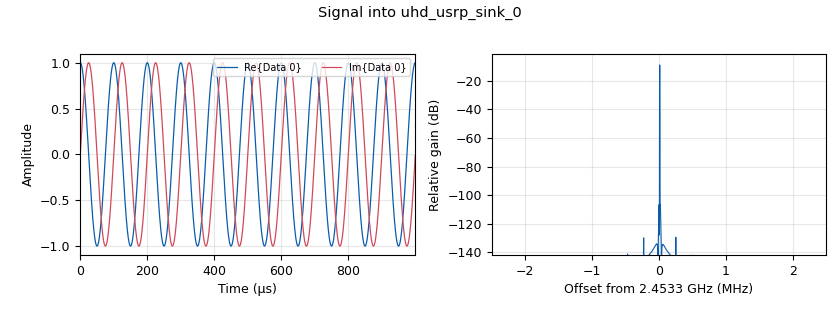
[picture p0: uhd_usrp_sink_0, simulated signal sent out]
options:
  parameters:
    author: Edson P. da Silva
    generate_options: qt_gui
    id: testUSRP
    output_language: python
    title: Intesymbol Interference
  states: {}

blocks:
- name: fc
  id: variable_qtgui_range
  parameters:
    outputmsgname: value
    showports: 'False'
    start: 2e9
    step: '1000'
    stop: 3e9
    value: '2453301000'
  states: {}
- name: samp_rate
  id: variable
  parameters:
    value: 5e6
  states: {}
- name: analog_sig_source_x_0
  id: analog_sig_source_x
  parameters:
    amp: '1'
    freq: '10000'
    offset: '0'
    phase: '0'
    samp_rate: samp_rate
    type: complex
    waveform: analog.GR_SIN_WAVE
  states: {}
- name: qtgui_freq_sink_x_1
  id: qtgui_freq_sink_x
  parameters:
    average: '0.2'
    bw: samp_rate
    color2: '"black"'
    fc: '0'
    fftsize: '1024'
    gui_hint: 0,0,2,3
    label1: Tx signal
    label2: Tx signal + channel response
    nconnections: '2'
    type: complex
    width1: '2'
    width2: '2'
  states: {}
- name: qtgui_time_sink_x_0
  id: qtgui_time_sink_x
  parameters:
    nconnections: '2'
    size: '1024'
    srate: samp_rate
    type: complex
  states: {}
- name: uhd_usrp_sink_0
  id: uhd_usrp_sink
  parameters:
    ant0: '"TX/RX"'
    center_freq0: fc
    dev_addr: '"addr=192.168.10.2"'
    gain0: '0'
    samp_rate: samp_rate
    sync: pc_clock
    type: fc32
  states: {}
- name: uhd_usrp_source_0
  id: uhd_usrp_source
  parameters:
    ant0: '"RX2"'
    center_freq0: fc
    dev_addr: '"addr=192.168.10.2"'
    gain0: '0'
    samp_rate: samp_rate
    sync: pc_clock
    type: fc32
  states: {}

connections:
- [analog_sig_source_x_0, '0', qtgui_freq_sink_x_1, '0']
- [analog_sig_source_x_0, '0', qtgui_time_sink_x_0, '0']
- [analog_sig_source_x_0, '0', uhd_usrp_sink_0, '0']
- [uhd_usrp_source_0, '0', qtgui_freq_sink_x_1, '1']
- [uhd_usrp_source_0, '0', qtgui_time_sink_x_0, '1']

metadata:
  file_format: 1
  grc_version: 3.10.4.0
